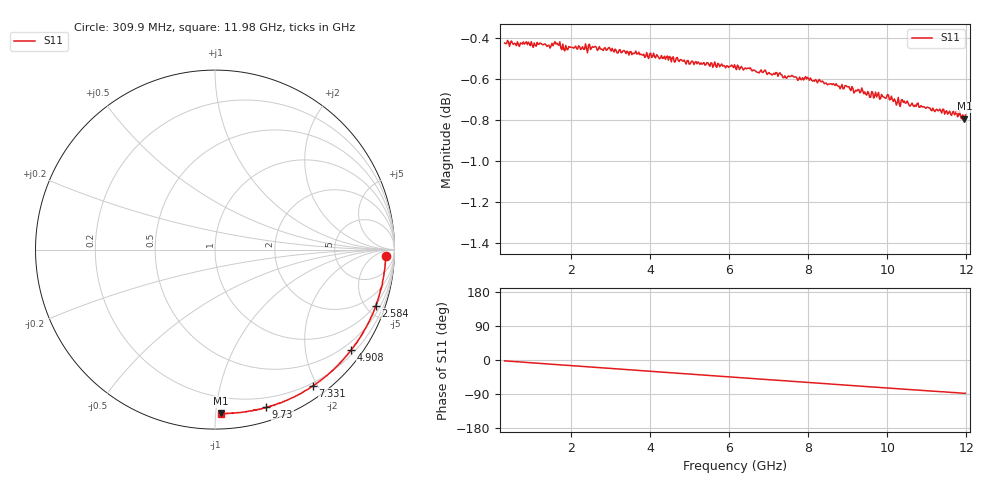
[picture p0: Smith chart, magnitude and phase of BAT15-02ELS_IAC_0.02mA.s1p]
! Infineon Technologies  Discrete & RF Semiconductors
! BAT15-02ELS
! IAC = 0.02 mA
! One-Port S-Parameters
# Hz  S  MA  R  50
!f  S11
!Hz  Mag  Ang
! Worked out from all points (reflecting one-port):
!   468 points, 309.9 MHz to 11.98 GHz, reference 50 ohm
!   lowest |S11| = -0.8 dB at 11.95 GHz (marker M1), VSWR 21.87, Z = 4.73 - j51.6 ohm
!   phase of S11 starts at -2 deg and turns -86 deg over the sweep
!   S11 on the Smith chart (normalised r, x): 309.9 MHz: 24, -20; 2.584 GHz: 0.90, -5.77; 4.908 GHz: 0.31, -3.00; 7.331 GHz: 0.16, -1.94; 9.73 GHz: 0.11, -1.37; 11.98 GHz: 0.09, -1.03
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3.0985e8  0.9521 -2.3
4.347875e8  0.9503 -3.2
1.184412e9  0.9515 -8.8
1.6092e9  0.9515 -12.0
1.784112e9  0.9516 -13.3
1.984012e9  0.9498 -14.8
2.583712e9  0.95 -19.2
3.233388e9  0.9486 -24.0
4.032988e9  0.9444 -30.1
4.70765e9  0.9428 -35.1
4.90755e9  0.9409 -36.6
5.757125e9  0.9395 -42.8
6.156925e9  0.939 -45.8
6.656675e9  0.9375 -49.5
6.856575e9  0.9365 -50.9
7.331338e9  0.9353 -54.3
7.4063e9  0.9347 -54.9
7.6062e9  0.9347 -56.3
7.781112e9  0.9341 -57.7
7.956025e9  0.9332 -58.9
8.230888e9  0.9311 -61.1
9.080462e9  0.9271 -67.2
9.730138e9  0.9238 -72.0
1.052974e10  0.9206 -77.6
1.137931e10  0.9155 -83.9
1.157921e10  0.9164 -85.1
1.195402e10  0.9125 -88.0
1.197901e10  0.9145 -87.9
